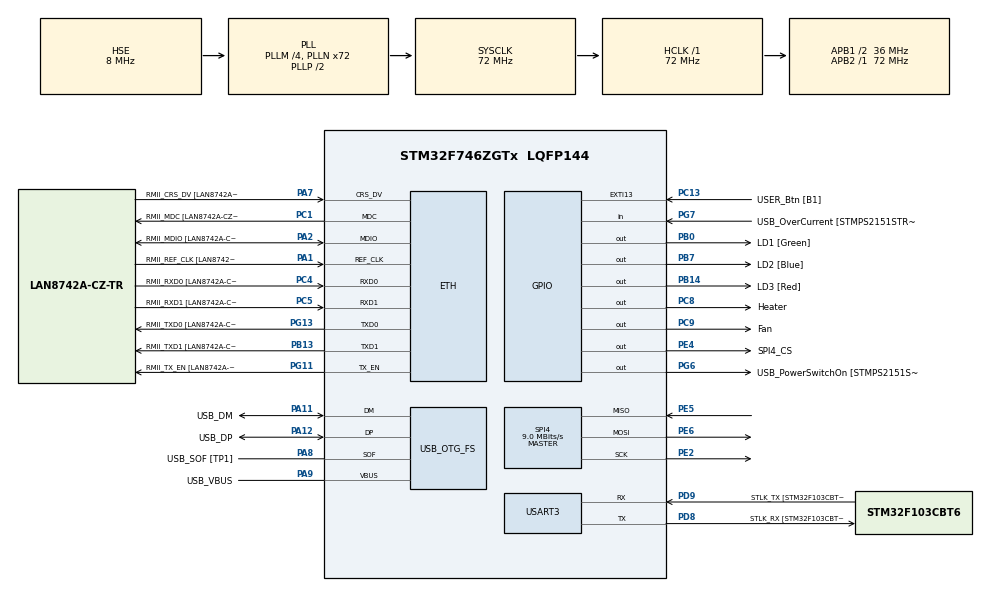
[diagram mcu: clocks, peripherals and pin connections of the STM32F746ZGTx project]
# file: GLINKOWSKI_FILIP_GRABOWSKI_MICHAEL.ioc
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ETH.MediaInterface=ETH_MEDIA_INTERFACE_RMII
ETH.PHY_Name=LAN8742A_PHY_ADDRESS
ETH.PHY_Value=0
ETH.PhyAddress=0
Mcu.Family=STM32F7
Mcu.Name=STM32F746ZGTx
Mcu.Package=LQFP144
NVIC.PriorityGroup=NVIC_PRIORITYGROUP_4
NVIC.SPI4_IRQn=true\:0\:0\:false\:false\:true\:true\:true
NVIC.USART3_IRQn=true\:0\:0\:false\:false\:true\:true\:true
PA1.GPIO_Label=RMII_REF_CLK [LAN8742A-CZ-TR_REFCLK0]
PA1.Mode=RMII
PA1.Signal=ETH_REF_CLK
PA10.GPIO_Label=USB_ID
PA10.Signal=USB_OTG_FS_ID
PA11.GPIO_Label=USB_DM
PA11.Mode=Device_Only
PA11.Signal=USB_OTG_FS_DM
PA12.GPIO_Label=USB_DP
PA12.Mode=Device_Only
PA12.Signal=USB_OTG_FS_DP
PA13.GPIO_Label=TMS
PA13.Mode=Serial_Wire
PA13.Signal=SYS_JTMS-SWDIO
PA14.GPIO_Label=TCK
PA14.Mode=Serial_Wire
PA14.Signal=SYS_JTCK-SWCLK
PA2.GPIO_Label=RMII_MDIO [LAN8742A-CZ-TR_MDIO]
PA2.Mode=RMII
PA2.Signal=ETH_MDIO
PA7.GPIO_Label=RMII_CRS_DV [LAN8742A-CZ-TR_CRS_DV]
PA7.Mode=RMII
PA7.Signal=ETH_CRS_DV
PA8.GPIO_Label=USB_SOF [TP1]
PA8.Mode=Activate_SOF_FS
PA8.Signal=USB_OTG_FS_SOF
PA9.GPIO_Label=USB_VBUS
PA9.Mode=Activate_VBUS
PA9.Signal=USB_OTG_FS_VBUS
PB0.GPIO_Label=LD1 [Green]
PB0.Signal=GPIO_Output
PB13.GPIO_Label=RMII_TXD1 [LAN8742A-CZ-TR_TXD1]
PB13.Mode=RMII
PB13.Signal=ETH_TXD1
PB14.GPIO_Label=LD3 [Red]
PB14.Signal=GPIO_Output
PB3.GPIO_Label=SW0
PB3.Signal=SYS_JTDO-SWO
PB7.GPIO_Label=LD2 [Blue]
PB7.Signal=GPIO_Output
PC1.GPIO_Label=RMII_MDC [LAN8742A-CZ-TR_MDC]
PC1.Mode=RMII
PC1.Signal=ETH_MDC
PC13.GPIO_Label=USER_Btn [B1]
PC13.Signal=GPXTI13
PC14/OSC32_IN.Mode=LSE-External-Oscillator
PC14/OSC32_IN.Signal=RCC_OSC32_IN
PC15/OSC32_OUT.Mode=LSE-External-Oscillator
PC15/OSC32_OUT.Signal=RCC_OSC32_OUT
PC4.GPIO_Label=RMII_RXD0 [LAN8742A-CZ-TR_RXD0]
PC4.Mode=RMII
PC4.Signal=ETH_RXD0
PC5.GPIO_Label=RMII_RXD1 [LAN8742A-CZ-TR_RXD1]
PC5.Mode=RMII
PC5.Signal=ETH_RXD1
PC8.GPIO_Label=Heater
PC8.Signal=GPIO_Output
PC9.GPIO_Label=Fan
PC9.Signal=GPIO_Output
PD8.GPIO_Label=STLK_RX [STM32F103CBT6_PA3]
PD8.Mode=Asynchronous
PD8.Signal=USART3_TX
PD9.GPIO_Label=STLK_TX [STM32F103CBT6_PA2]
PD9.Mode=Asynchronous
PD9.Signal=USART3_RX
PE2.Mode=Full_Duplex_Master
PE2.Signal=SPI4_SCK
PE4.GPIO_Label=SPI4_CS
PE4.Signal=GPIO_Output
PE5.Mode=Full_Duplex_Master
PE5.Signal=SPI4_MISO
PE6.Mode=Full_Duplex_Master
PE6.Signal=SPI4_MOSI
PG11.GPIO_Label=RMII_TX_EN [LAN8742A-CZ-TR_TXEN]
PG11.Mode=RMII
PG11.Signal=ETH_TX_EN
PG13.GPIO_Label=RMII_TXD0 [LAN8742A-CZ-TR_TXD0]
PG13.Mode=RMII
PG13.Signal=ETH_TXD0
PG6.GPIO_Label=USB_PowerSwitchOn [STMPS2151STR_EN]
PG6.Signal=GPIO_Output
PG7.GPIO_Label=USB_OverCurrent [STMPS2151STR_FAULT]
PG7.Signal=GPIO_Input
PH0/OSC_IN.GPIO_Label=MCO [STM32F103CBT6_PA8]
PH0/OSC_IN.Mode=HSE-External-Clock-Source
PH0/OSC_IN.Signal=RCC_OSC_IN
PH1/OSC_OUT.Mode=HSE-External-Clock-Source
PH1/OSC_OUT.Signal=RCC_OSC_OUT
ProjectManager.HeapSize=0x200
ProjectManager.StackSize=0x400
ProjectManager.TargetToolchain=STM32CubeIDE
RCC.48MHZClocksFreq_Value=24000000
RCC.AHBFreq_Value=72000000
RCC.APB1CLKDivider=RCC_HCLK_DIV2
RCC.APB1Freq_Value=36000000
RCC.APB1TimFreq_Value=72000000
RCC.APB2Freq_Value=72000000
RCC.APB2TimFreq_Value=72000000
RCC.CortexFreq_Value=72000000
RCC.HCLKFreq_Value=72000000
RCC.HSE_VALUE=8000000
RCC.HSI_VALUE=16000000
RCC.PLLM=4
RCC.PLLMUL=RCC_PLL_MUL9
RCC.PLLN=72
RCC.PLLQ=3
RCC.PRESCALERUSB=RCC_USBCLKSOURCE_PLL_DIV1_5
RCC.SYSCLKFreq_VALUE=72000000
RCC.SYSCLKSource=RCC_SYSCLKSOURCE_PLLCLK
RCC.SYSCLKSourceVirtual=RCC_SYSCLKSOURCE_PLLCLK
RCC.USBFreq_Value=48000000
RCC.VCOOutputFreq_Value=144000000
SPI4.BaudRatePrescaler=SPI_BAUDRATEPRESCALER_8
SPI4.CLKPhase=SPI_PHASE_2EDGE
SPI4.CLKPolarity=SPI_POLARITY_HIGH
SPI4.CalculateBaudRate=9.0 MBits/s
SPI4.DataSize=SPI_DATASIZE_8BIT
SPI4.Direction=SPI_DIRECTION_2LINES
SPI4.Mode=SPI_MODE_MASTER
SPI4.VirtualType=VM_MASTER
USART3.VirtualMode-Asynchronous=VM_ASYNC
USB_OTG_FS.VirtualMode=Device_Only
board=NUCLEO-F746ZG

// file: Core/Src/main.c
/* USER CODE BEGIN Header */
/**
  ******************************************************************************
  * @file           : main.c
  * @brief          : Main program body
  ******************************************************************************
  * @attention
  *
  * <h2><center>&copy; Copyright (c) 2020 STMicroelectronics.
  * All rights reserved.</center></h2>
  *
  * This software component is licensed by ST under BSD 3-Clause license,
  * the "License"; You may not use this file except in compliance with the
  * License. You may obtain a copy of the License at:
  *                        opensource.org/licenses/BSD-3-Clause
  *
  ******************************************************************************
  */
/* USER CODE END Header */

#include "main.h"
#include "eth.h"
#include "spi.h"
#include "usart.h"
#include "usb_otg.h"
#include "gpio.h"

/* USER CODE BEGIN Includes */
#include "bmp280.h"
#include "stdlib.h"
/* USER CODE END Includes */

/* USER CODE BEGIN PD */
#define BMP280_DATA_INDEX 1
#define BMP280_ADDRESS_INDEX 2
const int SPI_BUFFER_LEN= 28;
/* USER CODE END PD */

/* USER CODE BEGIN PV */

uint8_t Received[4];
double TempRef=30;
char buffer[100];
uint8_t size;
uint8_t error;
double TempDif=0;
static unsigned short heater_state = 0;
static unsigned short fan_state = 0;
double TempRecived;
float TempSVW=0;
float TempRefSVW=0;

/* USER CODE END PV */

void SystemClock_Config(void);
/* USER CODE BEGIN PFP */

/**
 *  @brief HAL_UART_RxCpltCallback it's job is to return information
 *  if data sent via UART is incorrect,
 *  or to set received data as TempRef if data is correct.
 *
 * @param huart it's a UART3 handler
 *
 */

void HAL_UART_RxCpltCallback (UART_HandleTypeDef *huart)
{
	TempRecived=atof(&Received);
	if (TempRecived < 21.0)
	{
		error = sprintf(buffer,"Nieprawidlowa wartosc zadana\n\r ");
		HAL_UART_Transmit(&huart3, (uint8_t*)buffer, error, 200);
	}
	else if (TempRecived > 30.0)
	{
		error = sprintf(buffer,"Nieprawidlowa wartosc zadana\n\r ");
		HAL_UART_Transmit(&huart3, (uint8_t*)buffer, error, 200);
	}
	else
	{
		TempRef=(atof(&Received));
	}

}

/**
 *
 * @brief Control_Algorithm is a main function in our program,
 * its job is to measure difference between TempRef and temp,
 * then react with heater(if difference is positive and bigger than 1 degree),
 * or with fan(if difference is negative and less than -0.8).
 *
 * @param TempRef is our set temperature received from a user via UART
 * @param temp is our current temperature
 *
 */
void Control_Algorithm (double TempRef, double temp)
{
	 TempDif=TempRef-temp;

	 if (TempDif > 0.15)
	 {
		 heater_state = 1;
		 fan_state = 0;
	 }
	 else if (TempDif < -0.15)
	 {
			 heater_state = 0;
			 fan_state = 1;
	 }
	 else
	 {
		 heater_state = 0;
		 fan_state = 0;
	 }

}

//Functions bellow are provided by the manufacturer of the sensor

/*!
 * @brief Function for writing the sensor 's registers through SPI bus.
 *
 * @param [in] cs : Chip select to enable the sensor .
 * @param [in] reg_addr : Register address .
 * @param [in] reg_data : Pointer to the data buffer whose data has to be written .
 * @param [in] length : No of bytes to write .
 *
 * @return Status of execution
 * @retval 0 -> Success
 * @retval >0 -> Failure Info
 */
int8_t spi_reg_write(uint8_t cs, uint8_t reg_addr, uint8_t *reg_data, uint16_t length)
{

	/* Implement the SPI write routine according to the target machine . */
	HAL_StatusTypeDef status = HAL_OK ;
	int32_t iError = BMP280_OK ;
	uint8_t txarray [ SPI_BUFFER_LEN * BMP280_ADDRESS_INDEX ];
	uint8_t stringpos ;

	txarray [0] = reg_addr ;
	for ( stringpos = 0; stringpos < length ; stringpos ++) {
	txarray [ stringpos + BMP280_DATA_INDEX ] = reg_data [ stringpos ];
	 }

	HAL_GPIO_WritePin ( SPI4_CS_GPIO_Port , SPI4_CS_Pin , GPIO_PIN_RESET );
	status = HAL_SPI_Transmit ( &hspi4 , ( uint8_t *)(& txarray ), length *2, 100);
	while ( hspi4 . State == HAL_SPI_STATE_BUSY ) {};
	HAL_GPIO_WritePin ( SPI4_CS_GPIO_Port , SPI4_CS_Pin , GPIO_PIN_SET );

	if ( status != HAL_OK )
	{
	iError = ( -1);
	}
	return ( int8_t ) iError ;
}
/*!
 * @brief Function for reading the sensor 's registers through SPI bus.
 *
 * @param [in] cs : Chip select to enable the sensor .
 * @param [in] reg_addr : Register address .
 * @param [ out] reg_data : Pointer to the data buffer to store the read data .
 * @param [in] length : No of bytes to read .
 *
 * @return Status of execution
 * @retval 0 -> Success
 * @retval >0 -> Failure Info
 */
int8_t spi_reg_read(uint8_t cs, uint8_t reg_addr, uint8_t *reg_data, uint16_t length)
{

	/* Implement the SPI read routine according to the target machine . */
	HAL_StatusTypeDef status = HAL_OK ;
	int32_t iError = BMP280_OK ;
	uint8_t txarray [ 28 ] = {0 ,};
	uint8_t rxarray [ 28 ] = {0 ,};
	uint8_t stringpos ;

	txarray [0] = reg_addr ;

	HAL_GPIO_WritePin ( SPI4_CS_GPIO_Port , SPI4_CS_Pin , GPIO_PIN_RESET );
	status = HAL_SPI_TransmitReceive ( &hspi4 , ( uint8_t *)(& txarray ),( uint8_t *)(& rxarray ), length +1, 5);
	while ( hspi4 . State == HAL_SPI_STATE_BUSY ) {};
	HAL_GPIO_WritePin ( SPI4_CS_GPIO_Port , SPI4_CS_Pin , GPIO_PIN_SET );

	for ( stringpos = 0; stringpos < length ; stringpos ++)
	{
		*( reg_data + stringpos ) = rxarray [ stringpos + BMP280_DATA_INDEX ];
	}

	if ( status != HAL_OK )
	{
	iError = ( -1);
	}
	return ( int8_t ) iError ;
}
/* USER CODE END PFP */

int main(void)
{
  /* USER CODE BEGIN 1 */
	int8_t rslt;
	struct bmp280_dev bmp;
	struct bmp280_config conf;
	struct bmp280_uncomp_data ucomp_data;
	int32_t temp32;
	double temp;

  /* USER CODE END 1 */

  /* MCU Configuration--------------------------------------------------------*/

  /* Reset of all peripherals, Initializes the Flash interface and the Systick. */
  HAL_Init();

  /* Configure the system clock */
  SystemClock_Config();

  /* Initialize all configured peripherals */
  MX_GPIO_Init();
  MX_ETH_Init();
  MX_USART3_UART_Init();
  MX_USB_OTG_FS_PCD_Init();
  MX_SPI4_Init();
  /* USER CODE BEGIN 2 */

  bmp.delay_ms=HAL_Delay;
  bmp.dev_id = 0;
  bmp.read = spi_reg_read;
  bmp.write = spi_reg_write;
  bmp.intf = BMP280_SPI_INTF;

 rslt = bmp280_init(&bmp);

 /* Always read the current settings before writing, especially when
  * all the configuration is not modified
  */
 rslt = bmp280_get_config(&conf, &bmp);

 /* configuring the temperature oversampling, filter coefficient and output data rate */
 /* Overwrite the desired settings */
 conf.filter = BMP280_FILTER_COEFF_2;

 /* Temperature oversampling set at 4x */
 conf.os_temp = BMP280_OS_4X;

 /* Pressure over sampling none (disabling pressure measurement) */
 conf.os_pres = BMP280_OS_NONE;

 /* Setting the output data rate as 1HZ(1000ms) */
 conf.odr = BMP280_ODR_1000_MS;
 rslt = bmp280_set_config(&conf, &bmp);

 /* Always set the power mode after setting the configuration */
 rslt = bmp280_set_power_mode(BMP280_NORMAL_MODE, &bmp);
  /* USER CODE END 2 */

  /* Infinite loop */
  /* USER CODE BEGIN WHILE */
  while (1)
  {
	  /** Reading the raw data from sensor */
     rslt = bmp280_get_uncomp_data(&ucomp_data, &bmp);

     /** Getting the compensated temperature as floating point value */
     rslt = bmp280_get_comp_temp_double(&temp, ucomp_data.uncomp_temp, &bmp);
     /**Transmitting the temperature via UART*/
     size = sprintf(buffer,"Temperature %f\n\r ", temp);
     HAL_UART_Transmit(&huart3, (uint8_t*)buffer, size, 200);

     /** Sleep time between measurements = BMP280_ODR_2000_MS */
     bmp.delay_ms(100);

     HAL_GPIO_WritePin(Heater_GPIO_Port, Heater_Pin, heater_state);  // Heater control
     HAL_GPIO_WritePin(Fan_GPIO_Port, Fan_Pin, fan_state);			 // Fan control

     /**Receiving Referenced temperature*/
     HAL_UART_Receive_IT(&huart3, Received, 4);
     Control_Algorithm(TempRef, temp);								// Control algorithm function callback

     HAL_Delay(200);

     //konwersja na float
     TempSVW= (float)temp;
     TempRefSVW=(float)TempRef;

    /* USER CODE END WHILE */

  }
}

void SystemClock_Config(void)
{
  RCC_OscInitTypeDef RCC_OscInitStruct = {0};
  RCC_ClkInitTypeDef RCC_ClkInitStruct = {0};
  RCC_PeriphCLKInitTypeDef PeriphClkInitStruct = {0};

  /** Configure LSE Drive Capability
  */
  HAL_PWR_EnableBkUpAccess();
  /** Configure the main internal regulator output voltage
  */
  __HAL_RCC_PWR_CLK_ENABLE();
  __HAL_PWR_VOLTAGESCALING_CONFIG(PWR_REGULATOR_VOLTAGE_SCALE3);
  /** Initializes the CPU, AHB and APB busses clocks
  */
  RCC_OscInitStruct.OscillatorType = RCC_OSCILLATORTYPE_HSE;
  RCC_OscInitStruct.HSEState = RCC_HSE_BYPASS;
  RCC_OscInitStruct.PLL.PLLState = RCC_PLL_ON;
  RCC_OscInitStruct.PLL.PLLSource = RCC_PLLSOURCE_HSE;
  RCC_OscInitStruct.PLL.PLLM = 4;
  RCC_OscInitStruct.PLL.PLLN = 72;
  RCC_OscInitStruct.PLL.PLLP = RCC_PLLP_DIV2;
  RCC_OscInitStruct.PLL.PLLQ = 3;
  if (HAL_RCC_OscConfig(&RCC_OscInitStruct) != HAL_OK)
  {
    Error_Handler();
  }
  /** Initializes the CPU, AHB and APB busses clocks
  */
  RCC_ClkInitStruct.ClockType = RCC_CLOCKTYPE_HCLK|RCC_CLOCKTYPE_SYSCLK
                              |RCC_CLOCKTYPE_PCLK1|RCC_CLOCKTYPE_PCLK2;
  RCC_ClkInitStruct.SYSCLKSource = RCC_SYSCLKSOURCE_PLLCLK;
  RCC_ClkInitStruct.AHBCLKDivider = RCC_SYSCLK_DIV1;
  RCC_ClkInitStruct.APB1CLKDivider = RCC_HCLK_DIV2;
  RCC_ClkInitStruct.APB2CLKDivider = RCC_HCLK_DIV1;

  if (HAL_RCC_ClockConfig(&RCC_ClkInitStruct, FLASH_LATENCY_2) != HAL_OK)
  {
    Error_Handler();
  }
  PeriphClkInitStruct.PeriphClockSelection = RCC_PERIPHCLK_USART3|RCC_PERIPHCLK_CLK48;
  PeriphClkInitStruct.Usart3ClockSelection = RCC_USART3CLKSOURCE_PCLK1;
  PeriphClkInitStruct.Clk48ClockSelection = RCC_CLK48SOURCE_PLL;
  if (HAL_RCCEx_PeriphCLKConfig(&PeriphClkInitStruct) != HAL_OK)
  {
    Error_Handler();
  }
}

void Error_Handler(void)
{
}

/************************ (C) COPYRIGHT STMicroelectronics *****END OF FILE****/
